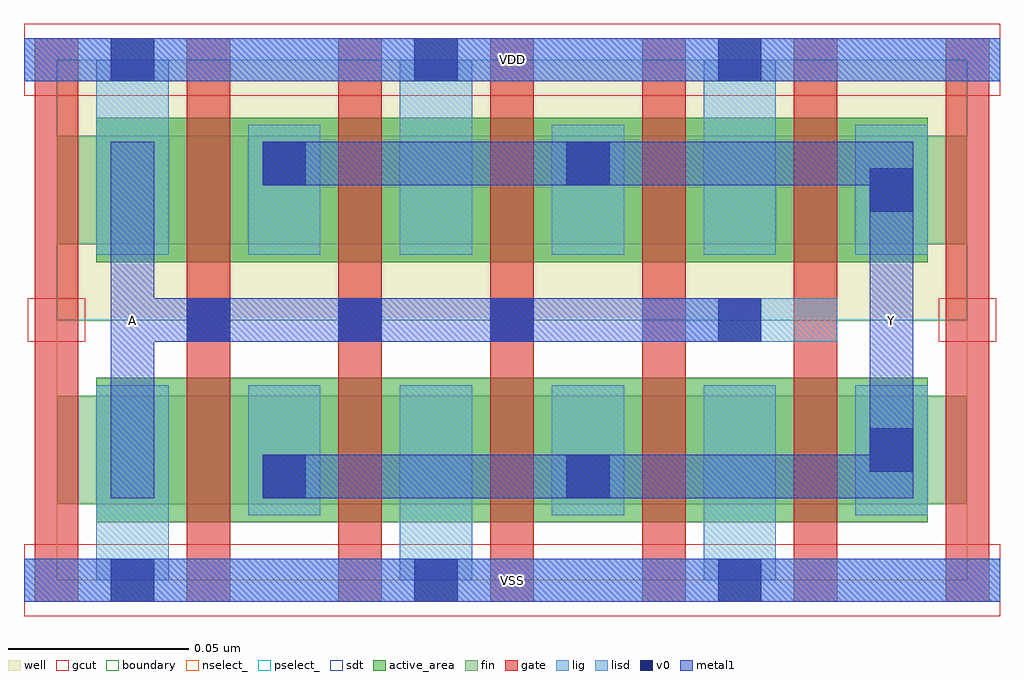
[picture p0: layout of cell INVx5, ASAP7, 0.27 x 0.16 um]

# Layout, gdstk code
import gdstk
lib = gdstk.Library(unit=1e-6, precision=2.5e-10)
def R(c, l, rs):  # rectangles x0, y0, x1, y1
    for r in rs: c.add(gdstk.rectangle(r[:2], r[2:], *l))
def A(c, l, x, y, w, h, nx, ny, dx, dy):  # array of equal rectangles
    R(c, l, [(x+i*dx, y+j*dy, x+i*dx+w, y+j*dy+h) for i in range(nx) for j in range(ny)])
def P(c, l, *ps):  # polygons
    for p in ps: c.add(gdstk.Polygon(p, *l))
well = (1, 0)
fin = (2, 0)
gate = (7, 0)
gcut = (10, 0)
active_area = (11, 0)
nselect_ = (12, 0)
pselect_ = (13, 0)
lig = (16, 0)
lisd = (17, 0)
v0 = (18, 0)
metal1 = (19, 0)
sdt = (88, 0)
boundary = (100, 0)

invx5 = lib.new_cell('INVx5')
R(invx5, well, [(0,0.072,0.252,0.144)])
R(invx5, fin, [(0,0.021,0.252,0.051), (0,0.093,0.252,0.123)])
A(invx5, gate, -0.006, -0.006, 0.012, 0.156, 7, 1, 0.042, 0)
R(invx5, gcut, [(-0.009,-0.01,0.261,0.01), (-0.008,0.066,0.008,0.078), (0.244,0.066,0.26,0.078), (-0.009,0.134,0.261,0.154)])
R(invx5, active_area, [(0.011,0.016,0.241,0.056), (0.011,0.088,0.241,0.128)])
R(invx5, nselect_, [(0,0,0.252,0.072)])
R(invx5, pselect_, [(0,0.072,0.252,0.144)])
A(invx5, lig, 0.036, 0.066, 0.012, 0.012, 3, 1, 0.042, 0)
R(invx5, lig, [(-0.009,-0.006,0.261,0.006), (0.162,0.066,0.216,0.078), (-0.009,0.138,0.261,0.15)])
A(invx5, lisd, 0.011, 0, 0.02, 0.054, 3, 2, 0.084, 0.09)
A(invx5, lisd, 0.053, 0.018, 0.02, 0.036, 3, 2, 0.084, 0.072)
A(invx5, v0, 0.015, -0.006, 0.012, 0.012, 3, 2, 0.084, 0.144)
A(invx5, v0, 0.036, 0.066, 0.012, 0.012, 3, 1, 0.042, 0)
R(invx5, v0, [(0.057,0.0227,0.069,0.0348), (0.141,0.0227,0.153,0.0348), (0.225,0.03,0.237,0.042), (0.183,0.066,0.195,0.078), (0.225,0.102,0.237,0.114), (0.057,0.1092,0.069,0.1212), (0.141,0.1092,0.153,0.1212)])
R(invx5, metal1, [(-0.009,-0.006,0.261,0.006), (-0.009,0.138,0.261,0.15)])
P(invx5, metal1, [(0.015,0.0227),(0.027,0.0227),(0.027,0.066),(0.195,0.066),(0.195,0.078),(0.027,0.078),(0.027,0.1212),(0.015,0.1212)],
  [(0.057,0.1092),(0.225,0.1092),(0.225,0.0348),(0.057,0.0348),(0.057,0.0227),(0.237,0.0227),(0.237,0.1212),(0.057,0.1212)])
A(invx5, sdt, 0.011, 0.021, 0.02, 0.03, 6, 2, 0.042, 0.072)
R(invx5, boundary, [(0,0,0.252,0.144)])
invx5.add(gdstk.Label('Y', (0.231,0.072), layer=19, texttype=251))
invx5.add(gdstk.Label('A', (0.021,0.072), layer=19, texttype=251))
invx5.add(gdstk.Label('VSS', (0.126,0), layer=19, texttype=251))
invx5.add(gdstk.Label('VDD', (0.126,0.144), layer=19, texttype=251))

lib.write_gds('INVx5.gds')
